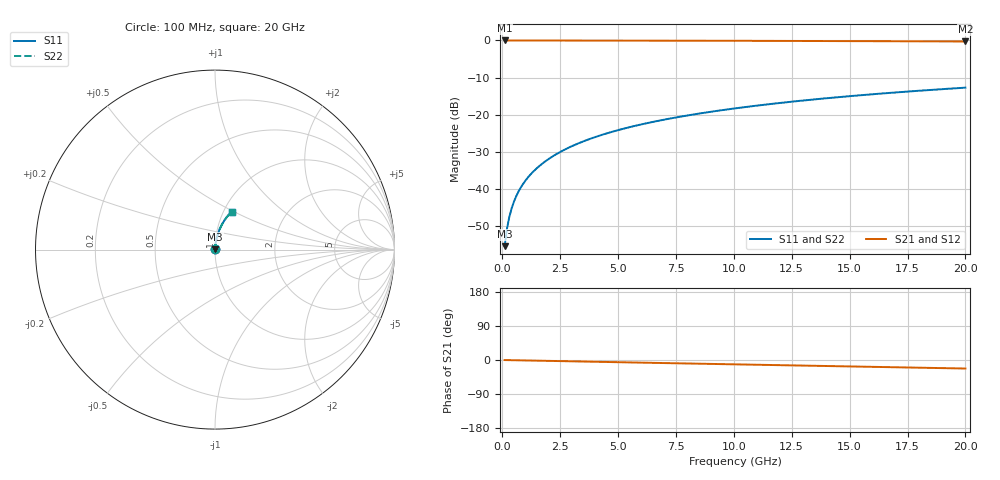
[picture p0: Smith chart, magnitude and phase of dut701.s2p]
! Touchstone file exported from HFSS 2026.1.0
!  File:  C:/ffzhzh/LocalFiles/Ansys_Project_Files/temp_train_BSMRDL_701_1783168045_22436.aedt
!  Generated:  08:28:37 PM Jul  4, 2026
!  Design:  BSMRDL
!  Project:  temp_train_BSMRDL_701_1783168045_22436
! Variables:
!  h_bsmrdl = 4.51um
!  h_ox = 20um
!  h_rdl = 5um
!  h_sub = 80um
!  h_tmrdl = 5um
!  h_tsv = 80um
!  h_via = 3um
!  l_bsmrdl = 278.7um
!  l_sub = 678.7um
!  l_tmrdl = 200um
!  m_sub = 200um
!  pitch = 59.71um
!  r_tsv = 6um
!  s_tmrdl = 10um
!  w_bsmrdl = 26.03um
!  w_sub = 500um
!  w_tmrdl = 12um
!  x_tsv_center1 = 206um
!  x_tsv_center2 = 510.73um
!  x_tsv_center3 = 722.73um
!  x_tsv_center4 = 1027.46um
!  x_tsv_center5 = 1239.46um
!  x_tsv_center6 = 1544.19um
# GHz S MA R 50.000000
! Terminal data exported
! Port[1] = BSM_RDL1_1_T1
! Port[2] = BSM_RDL1_1_T2
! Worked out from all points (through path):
!   200 points, 100 MHz to 20 GHz, reference 50 ohm
!   highest |S21| = -0.01 dB at 100 MHz (marker M1); lowest = -0.3 dB at 20 GHz (marker M2)
!   group delay of S21, straight-line fit = 3.12 ps
!   lowest |S11| = -55.4 dB at 100 MHz (marker M3), VSWR 1.00, Z = 50.1 + j0.135 ohm
!   |S11| at or under -10 dB: start of sweep to end of sweep
!   |S22| runs from -55.4 to -12.7 dB; largest |S21 - S12| = 2.1e-15
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0.1  0.001701 52.6  0.999 -0.1  0.999 -0.1  0.001701 52.6
! Gamma 0 0 0 0
! Port Impedance 50 0 50 0
0.2  0.002895 68.5  0.9989 -0.2  0.9989 -0.2  0.002895 68.4
0.3  0.004168 74.6  0.9988 -0.4  0.9988 -0.4  0.004169 74.5
0.4  0.00545 77.7  0.9988 -0.5  0.9988 -0.5  0.00545 77.6
0.5  0.006725 79.5  0.9988 -0.6  0.9988 -0.6  0.006725 79.4
0.6  0.00799 80.7  0.9987 -0.7  0.9987 -0.7  0.007989 80.6
0.7  0.009246 81.5  0.9987 -0.8  0.9987 -0.8  0.009245 81.4
0.8  0.0105 82.1  0.9987 -0.9  0.9987 -0.9  0.01049 82.0
1  0.01298 82.9  0.9986 -1.2  0.9986 -1.2  0.01298 82.9
1.4  0.01793 83.7  0.9984 -1.6  0.9984 -1.6  0.01793 83.7
1.7  0.02164 84.0  0.9983 -2.0  0.9983 -2.0  0.02163 83.9
2  0.02534 84.0  0.9981 -2.3  0.9981 -2.3  0.02534 84.0
2.7  0.03397 83.8  0.9977 -3.2  0.9977 -3.2  0.03397 83.8
3.5  0.04379 83.3  0.9971 -4.1  0.9971 -4.1  0.04379 83.3
4.2  0.05233 82.7  0.9964 -4.9  0.9964 -4.9  0.05233 82.7
5  0.06202 81.9  0.9956 -5.8  0.9956 -5.8  0.06202 81.9
6.8  0.08358 80.1  0.9935 -7.9  0.9935 -7.9  0.08358 80.1
8.3  0.1013 78.5  0.9915 -9.6  0.9915 -9.6  0.1013 78.5
10.1  0.1223 76.6  0.9887 -11.6  0.9887 -11.6  0.1223 76.7
13.4  0.1599 73.2  0.9828 -15.3  0.9828 -15.3  0.1599 73.2
16.7  0.1963 69.7  0.9758 -18.9  0.9758 -18.9  0.1963 69.7
20  0.2313 66.2  0.9677 -22.5  0.9677 -22.5  0.2313 66.3
